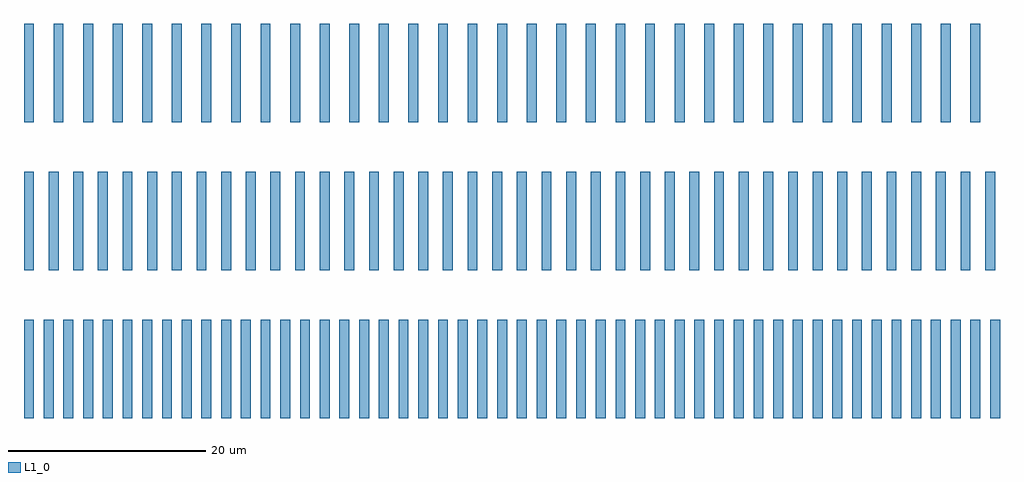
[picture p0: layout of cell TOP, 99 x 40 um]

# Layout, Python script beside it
import klayout.db as db
import math

ly = db.Layout()
top_cell = ly.create_cell("TOP")
layer = ly.layer(1, 0)

width = 1.0
height = 10.0
length = 100.0

y = 0.0

for pitch in [ 2.0, 2.5, 3.0 ]:

  n = math.floor(length / pitch)

  for i in range(0, n):

    pt = db.DPoint(i * pitch, y)
    box = db.DBox(pt, pt + db.DVector(width, height))

    top_cell.shapes(layer).insert(box)

  y += height * 1.5

ly.write("gratings_flat.gds")
